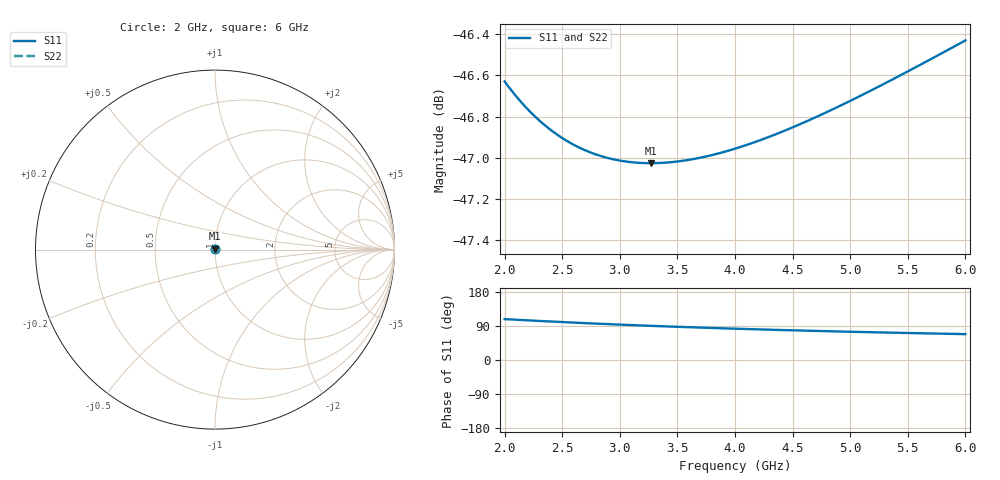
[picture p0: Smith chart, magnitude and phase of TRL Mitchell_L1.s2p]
! Touchstone file from project TRL Mitchell
! Exported from Circuit Design 2017.1.0
! Variables:
!  $thru = 40mm
!  line = 49.5321
!  thru = 40mm
!  width = 3.01746mm
!Data is not renormalized
# GHZ S MA
! Modal data exported
! Port[1] = n3
! Port[2] = n4
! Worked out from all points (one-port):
!   451 points, 2 GHz to 6 GHz, reference per port
!   lowest |S11| = -47.0 dB at 3.271 GHz (marker M1), VSWR 1.01
!   |S11| at or under -10 dB: start of sweep to end of sweep
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2  0.004662 107.9  0 -180.0  0 -180.0  0.004662 107.9
! Port Impedance50 0 50 0
2.017778  0.004655 107.6  0 -180.0  0 -180.0  0.004655 107.6
2.097778  0.004624 106.3  0 -180.0  0 -180.0  0.004624 106.3
2.177778  0.004597 105.0  0 -180.0  0 -180.0  0.004597 105.0
2.328889  0.004554 102.6  0 -180.0  0 -180.0  0.004554 102.6
2.408889  0.004535 101.4  0 -180.0  0 -180.0  0.004535 101.4
2.497778  0.004517 100.1  0 -180.0  0 -180.0  0.004517 100.1
2.666667  0.00449 97.7  0 -180.0  0 -180.0  0.00449 97.7
2.808889  0.004474 95.8  0 -180.0  0 -180.0  0.004474 95.8
2.951111  0.004463 94.0  0 -180.0  0 -180.0  0.004463 94.0
3.111111  0.004455 92.0  0 -180.0  0 -180.0  0.004455 92.0
3.271111  0.004453 90.1  0 -180.0  0 -180.0  0.004453 90.1
3.342222  0.004454 89.3  0 -180.0  0 -180.0  0.004454 89.3
3.493333  0.004457 87.7  0 -180.0  0 -180.0  0.004457 87.7
3.653333  0.004464 86.0  0 -180.0  0 -180.0  0.004464 86.0
3.822222  0.004475 84.3  0 -180.0  0 -180.0  0.004475 84.3
4  0.00449 82.6  0 -180.0  0 -180.0  0.00449 82.6
4.311111  0.004521 79.9  0 -180.0  0 -180.0  0.004521 79.9
4.666667  0.004565 77.0  0 -180.0  0 -180.0  0.004565 77.0
4.977778  0.004608 74.7  0 -180.0  0 -180.0  0.004608 74.7
5.342222  0.004663 72.2  0 -180.0  0 -180.0  0.004663 72.2
6  0.00477 68.3  0 -180.0  0 -180.0  0.00477 68.3
